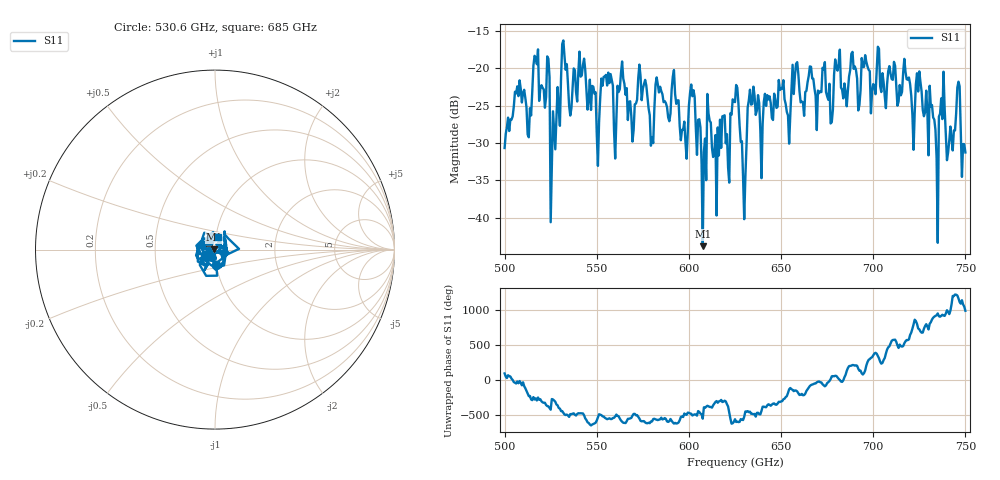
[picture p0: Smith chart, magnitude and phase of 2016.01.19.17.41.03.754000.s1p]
!Created with skrf (http://scikit-rf.org).
# GHz S RI R 50.0
!freq ReS11 ImS11
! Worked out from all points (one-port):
!   401 points, 500 GHz to 750 GHz, reference 50 ohm
!   lowest |S11| = -43.8 dB at 607.5 GHz (marker M1), VSWR 1.01, Z = 49.4 + j0.153 ohm
!   |S11| at or under -10 dB: start of sweep to end of sweep
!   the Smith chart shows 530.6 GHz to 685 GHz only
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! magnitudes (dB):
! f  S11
! 500 GHz  -30.7
! 506.9 GHz  -22.4
! 513.1 GHz  -29.2
! 516.9 GHz  -18.5
! 523.1 GHz  -18.4
! 526.2 GHz  -25.7
! 531.2 GHz  -16.7
! 550.6 GHz  -33.1
! 562.5 GHz  -22.8
! 579.4 GHz  -30.4
! 583.1 GHz  -22.1
! 593.8 GHz  -24.3
! 598.1 GHz  -29.9
! 601.9 GHz  -23.7
! 607.5 GHz  -43.8
! 611.2 GHz  -27.0
! 621.2 GHz  -33.3
! 625 GHz  -24.5
! 630 GHz  -40.2
! 633.8 GHz  -24.8
! 656.2 GHz  -19.5
! 687.5 GHz  -20.2
! 718.8 GHz  -21.5
! 731.9 GHz  -24.9
! 733.8 GHz  -28.2
! 736.9 GHz  -24.0
! 745.6 GHz  -22.6
! 750 GHz  -31.3
